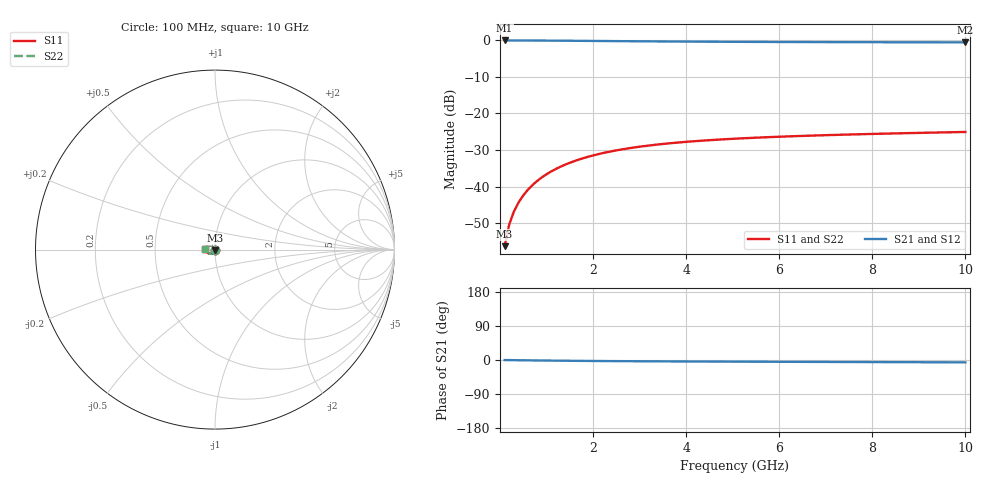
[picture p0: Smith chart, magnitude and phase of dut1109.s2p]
! Touchstone file exported from HFSS 2024.1.0
!  File:  C:/UserFiles/LocalFiles/RDL_TSV_Batchsim/temp_TSV1_1109_1780068055.aedt
!  Generated:  11:25:21 PM May 29, 2026
!  Design:  TSV1
!  Project:  temp_TSV1_1109_1780068055
!  Setup:  Setup1
!  Solution:  Sweep
! Variables:
!  dtsv = 10.39um
!  hbump = 3um
!  htsv = 99.05um
!  lrdl = 252.1521522um
!  p = 40
!  p1 = 53.92um
!  t = 500um
!  trdl = 3um
!  wrdl = 24.89489489um
# GHz S MA R 50.000000
! Terminal data exported
! Port[1] = TSV22_T1
! Port[2] = TSV22_T2
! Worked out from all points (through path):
!   100 points, 100 MHz to 10 GHz, reference 50 ohm
!   highest |S21| = 0.00 dB at 100 MHz (marker M1); lowest = -0.5 dB at 10 GHz (marker M2)
!   lowest |S11| = -56.3 dB at 100 MHz (marker M3), VSWR 1.00, Z = 50 - j0.152 ohm
!   |S11| at or under -10 dB: start of sweep to end of sweep
!   |S22| runs from -56.3 to -25.1 dB; largest |S21 - S12| = 9.5e-15
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0.1  0.001525 -86.1  0.9998 -0.2  0.9998 -0.2  0.001525 -86.1
! Gamma 0 0 0 0
! Port Impedance 50 0 50 0
0.2  0.003039 -90.8  0.9996 -0.3  0.9996 -0.3  0.003039 -90.8
0.3  0.004552 -93.5  0.9994 -0.5  0.9994 -0.5  0.004552 -93.5
0.4  0.006059 -95.9  0.999 -0.6  0.999 -0.6  0.006059 -95.9
0.5  0.007554 -98.0  0.9985 -0.8  0.9985 -0.8  0.007554 -98.0
0.6  0.009033 -100.1  0.998 -0.9  0.998 -0.9  0.009033 -100.1
0.7  0.01049 -102.1  0.9974 -1.0  0.9974 -1.0  0.01049 -102.1
0.8  0.01193 -104.0  0.9967 -1.2  0.9967 -1.2  0.01193 -104.0
0.9  0.01334 -106.0  0.9959 -1.3  0.9959 -1.3  0.01334 -106.0
1.1  0.01607 -109.7  0.9942 -1.6  0.9942 -1.6  0.01607 -109.7
1.4  0.01991 -114.9  0.9912 -2.0  0.9912 -2.0  0.01991 -114.9
1.6  0.0223 -118.3  0.9891 -2.2  0.9891 -2.2  0.0223 -118.3
1.8  0.02454 -121.5  0.9869 -2.4  0.9869 -2.4  0.02454 -121.5
2.1  0.02763 -126.1  0.9835 -2.7  0.9835 -2.7  0.02763 -126.1
2.5  0.03125 -131.7  0.9791 -3.0  0.9791 -3.0  0.03125 -131.7
2.9  0.03437 -136.8  0.9748 -3.3  0.9748 -3.3  0.03437 -136.8
3.4  0.03766 -142.6  0.97 -3.6  0.97 -3.6  0.03766 -142.6
4.2  0.04182 -150.6  0.9634 -4.0  0.9634 -4.0  0.04182 -150.6
5.1  0.04534 -158.2  0.9575 -4.4  0.9575 -4.4  0.04534 -158.2
6.7  0.04979 -169.1  0.9502 -5.0  0.9502 -5.0  0.04979 -169.1
8.4  0.05321 -178.4  0.9451 -5.6  0.9451 -5.6  0.05321 -178.4
10  0.05585 174.2  0.9419 -6.3  0.9419 -6.3  0.05585 174.2
